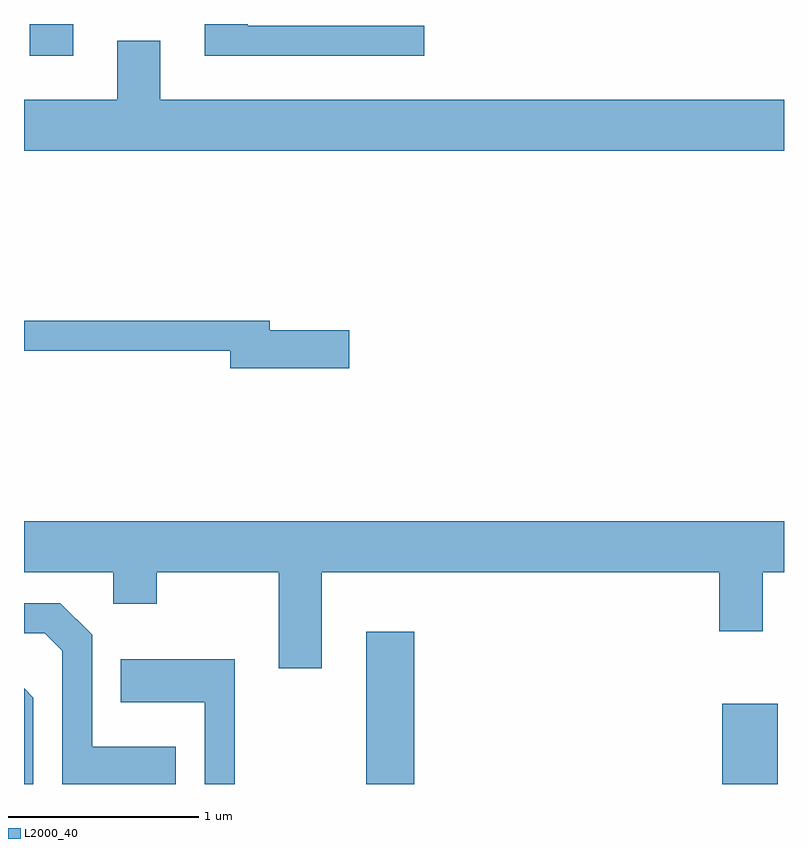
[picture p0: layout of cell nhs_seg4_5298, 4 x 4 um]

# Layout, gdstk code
import gdstk
lib = gdstk.Library(unit=1e-6, precision=1e-09)
def R(c, l, rs):  # rectangles x0, y0, x1, y1
    for r in rs: c.add(gdstk.rectangle(r[:2], r[2:], *l))
def P(c, l, *ps):  # polygons
    for p in ps: c.add(gdstk.Polygon(p, *l))
L2000_40 = (2000, 40)

nhs_seg4_5298 = lib.new_cell('nhs_seg4_5298')
R(nhs_seg4_5298, L2000_40, [(341.411,1377.982,341.664,1378.784), (343.286,1377.982,343.579,1378.404), (339.641,1381.816,339.869,1381.982)])
P(nhs_seg4_5298, L2000_40, [(341.718,1381.974),(340.789,1381.974),(340.789,1381.982),(340.561,1381.982),(340.561,1381.816),(341.718,1381.816)],
  [(343.611,1381.584),(340.329,1381.584),(340.329,1381.894),(340.101,1381.894),(340.101,1381.584),(339.611,1381.584),(339.611,1381.316),(343.611,1381.316)],
  [(341.324,1380.369),(340.904,1380.369),(340.904,1380.419),(339.611,1380.419),(339.611,1380.261),(340.696,1380.261),(340.696,1380.171),(341.324,1380.171)],
  [(341.179,1379.096),(343.271,1379.096),(343.271,1378.786),(343.499,1378.786),(343.499,1379.096),(343.611,1379.096),(343.611,1379.364),(339.611,1379.364),(339.611,1379.096),(340.081,1379.096),(340.081,1378.931),(340.309,1378.931),(340.309,1379.096),(340.951,1379.096),(340.951,1378.591),(341.179,1378.591)],
  [(340.409,1378.179),(339.969,1378.179),(339.969,1378.767),(339.802,1378.934),(339.611,1378.934),(339.611,1378.776),(339.719,1378.776),(339.811,1378.684),(339.811,1377.982),(340.409,1377.982)],
  [(340.719,1378.639),(340.121,1378.639),(340.121,1378.411),(340.561,1378.411),(340.561,1377.982),(340.719,1377.982)],
  [(339.659,1378.437),(339.611,1378.485),(339.611,1377.982),(339.659,1377.982)])

lib.write_gds('nhs_seg4_5298.gds')
